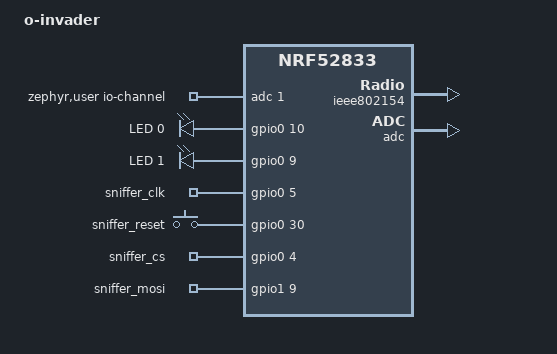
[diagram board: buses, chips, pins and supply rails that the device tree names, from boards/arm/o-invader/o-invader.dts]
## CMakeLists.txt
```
cmake_minimum_required(VERSION 3.20.0)

find_package(Zephyr REQUIRED HINTS $ENV{ZEPHYR_BASE})
project(bugpack_base LANGUAGES C)

# Fetch all component source files
file(GLOB_RECURSE COMPONENT_SOURCES src/components/*.c)

target_sources(app PRIVATE
        src/main.c
        ${COMPONENT_SOURCES} # Include all component source files
)

# Include all component header files
target_include_directories(app PRIVATE src/components)

# Set the path to the pm_static.yml file
set(PM_STATIC_YML_FILE pm_static.yml)

# Include the pm_static.yml file for MCUboot
set_property(GLOBAL PROPERTY PROPERTY_PM_STATIC_YML_FILE ${PM_STATIC_YML_FILE})
```

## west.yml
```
manifest:
  remotes:
    - name: nrfconnect
      url-base: https://github.com/nrfconnect
  projects:
    - name: nrf
      repo-path: sdk-nrf
      remote: nrfconnect
      revision: v2.5.2
      import: true
  self:
    path: app
```

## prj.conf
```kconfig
# Bluetooth configuration
CONFIG_BT=y
CONFIG_BT_DEVICE_NAME="O-Invader"
CONFIG_BT_PERIPHERAL=y
CONFIG_BT_USER_DATA_LEN_UPDATE=y
CONFIG_BT_CTLR_DATA_LENGTH_MAX=251
CONFIG_BT_BUF_ACL_RX_SIZE=502
CONFIG_BT_BUF_ACL_TX_SIZE=251
CONFIG_BT_L2CAP_TX_MTU=252
CONFIG_BT_CTLR_ULL_HIGH_PRIO=2
CONFIG_BT_MAX_CONN=3


# BLE Device information service
CONFIG_BT_DIS=y
CONFIG_BT_DIS_MODEL="O-Invader"
CONFIG_BT_DIS_MANUF="OriLive"
CONFIG_BT_DIS_HW_REV=y
CONFIG_BT_DIS_HW_REV_STR="0.2"
CONFIG_BT_DIS_FW_REV=y
CONFIG_BT_DIS_FW_REV_STR="Q1 2024"

# BLE Battery Service
CONFIG_BT_BAS=y

# ADC
CONFIG_ADC=y
CONFIG_ADC_ASYNC=y
CONFIG_ADC_NRFX_SAADC=y

# GPIO
CONFIG_GPIO=y

# Multithreading configuration
# -- Timeslicing prevents a single thread from starving other threads of CPU time.
#CONFIG_TIMESLICING=y
# -- In ms, the maximum amount of time a thread can run before forced to yield.
#CONFIG_TIMESLICE_SIZE=10
# -- The priority treshold for time slicing (priorities below this value will not be timesliced).
#CONFIG_TIMESLICE_PRIORITY=0

# Stack size configuration
CONFIG_MAIN_STACK_SIZE=4096
CONFIG_SYSTEM_WORKQUEUE_STACK_SIZE=4096

# Logging configuration
CONFIG_LOG=y

#Watchdog configuration
CONFIG_WATCHDOG=y

# Power Management
CONFIG_PM=y
CONFIG_PM_DEVICE=y

# Writing to flash
CONFIG_FLASH=y
CONFIG_FLASH_PAGE_LAYOUT=y
CONFIG_MPU_ALLOW_FLASH_WRITE=y
CONFIG_SOC_FLASH_NRF_EMULATE_ONE_BYTE_WRITE_ACCESS=y

# OTA DFU Updates
#CONFIG_MCUMGR=y
#CONFIG_MCUMGR_GRP_IMG=y
#CONFIG_BOOTLOADER_MCUBOOT=y
#CONFIG_MCUMGR_TRANSPORT_BT=y
#CONFIG_MCUMGR_TRANSPORT_BT_AUTHEN=n
#CONFIG_NCS_SAMPLE_MCUMGR_BT_OTA_DFU=y
#CONFIG_DISABLE_FLASH_PATCH=y


# Debugging configuration
# CONFIG_DEBUG=y
# CONFIG_LOG=y
# CONFIG_SERIAL=y
# CONFIG_THREAD_NAME=y
# CONFIG_THREAD_ANALYZER=y
# CONFIG_THREAD_ANALYZER_AUTO=y
# CONFIG_THREAD_ANALYZER_RUN_UNLOCKED=y
# CONFIG_THREAD_ANALYZER_USE_PRINTK=y
# CONFIG_ASSERT=y
# CONFIG_ASSERT_VERBOSE=y
# CONFIG_ASSERT_NO_COND_INFO=n
# CONFIG_ASSERT_NO_MSG_INFO=n
# CONFIG_RESET_ON_FATAL_ERROR=n
```

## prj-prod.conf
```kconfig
#
# This is the configuration file extension for the production build.
# It disables all debugging features and enables all power saving features.
#

# -- It is important to disable CONFIG_SERIAL and CONFIG_LOG, it takes a lot of power otherwise.
CONFIG_SERIAL=n
CONFIG_LOG=n
```

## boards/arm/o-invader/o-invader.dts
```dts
/dts-v1/;
#include <nordic/nrf52833_qdaa.dtsi>

/ {
	model = "o-invader";
	compatible = "matejneumann,o-invader";

    zephyr,user {
        io-channels = <&adc 1>;
    };

	chosen {
		zephyr,sram = &sram0;
		zephyr,flash = &flash0;
		zephyr,code-partition = &slot0_partition;
        zephyr,storage_partition = &storage_partition;
    };

    leds {
        compatible = "gpio-leds";
        led0: led_0 {
            gpios = <&gpio0 10 GPIO_ACTIVE_HIGH>;
            label = "LED 0";
        };
        led1: led_1 {
            gpios = <&gpio0 9 GPIO_ACTIVE_HIGH>;
            label = "LED 1";
        };
    };

    sniffer {
        compatible = "gpio-keys";
        clck0: clck_0 {
            gpios = <&gpio0 5 GPIO_ACTIVE_HIGH>;
            label = "sniffer_clk";
        };

        reset0: reset_0 {
            gpios = <&gpio0 30 GPIO_ACTIVE_HIGH>;
            label = "sniffer_reset";
        };

        cs0: cs_0 {
            gpios = <&gpio0 4 GPIO_ACTIVE_HIGH>;
            label = "sniffer_cs";
        };

        mosi0: mosi_0 {
            gpios = <&gpio1 9 GPIO_ACTIVE_HIGH>;
            label = "sniffer_mosi";
        };
    };

    aliases {
        led0 = &led0;
        led1 = &led1;
        watchdog0 = &wdt0;
    };
};

&gpiote {
    status = "okay";
};

&gpio0 {
    status = "okay";
};

&gpio1 {
    status = "okay";
};

&uicr {
    gpio-as-nreset;
};

&ieee802154 {
    status = "okay";
};

&adc {
    status = "okay";
};

&flash0 {
    partitions {
        compatible = "fixed-partitions";
        #address-cells = <1>;
        #size-cells = <1>;

        boot_partition: partition@0 {
            label = "mcuboot";
            reg = <0x00000000 0xC000>;
        };
        slot0_partition: partition@c000 {
            label = "image-0";
            reg = <0x0000C000 0x37000>;
        };
        slot1_partition: partition@43000 {
            label = "image-1";
            reg = <0x00043000 0x37000>;
        };
        storage_partition: partition@7a000 {
            label = "storage";
            reg = <0x0007A000 0x00006000>;
        };
    };
};
```

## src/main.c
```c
#include <zephyr/sys/printk.h>
#include <zephyr/logging/log.h>
#include <zephyr/drivers/gpio.h>


#include "components/bluetooth/bluetooth_core.h"
#include "components/logging/logging.h"
#include "components/device_state/battery_state.h"
#include "components/data_provider/spi_scraper.h"
#include "components/utils/led_indication.h"
#include "data_provider/punch_processing.h"
#include "utils/watchdog.h"
#include "utils/device_config.h"
#include "utils/device_sleep.h"

LOG_MODULE_REGISTER(o_invader_main, LOG_LEVEL_DBG);

int main(void)
{
//    NRF_TIMER1->BITMODE = TIMER_BITMODE_BITMODE_32Bit << TIMER_BITMODE_BITMODE_Pos;
//    NRF_TIMER1->TASKS_CLEAR = 1;
//    NRF_CLOCK->EVENTS_HFCLKSTARTED = 0;
//    NRF_TIMER1->TASKS_START = 1;
//    NRF_CLOCK->TASKS_HFCLKSTART = 1;
//    int counter = 1000000;
//    while(NRF_CLOCK->EVENTS_HFCLKSTARTED == 0 && counter-- > 0);
////    while(NRF_CLOCK->EVENTS_HFCLKSTARTED == 0);
//    NRF_TIMER1->TASKS_CAPTURE[0] = 1;
//
//    printk("HF Clock has started. Startup time: %d uS\n", NRF_TIMER1->CC[0]);
//    printk("All up and running!\n");

    LOG_INF("Starting up...\n");
    flash_storage_init();
    watchdog_init();
    led_indication_init();
    spi_scraper_init();
    logging_initialize();
    bt_core_initialize();
    battery_state_initialize();
    update_battery_level();
    initialize_punch_processing();
    device_sleep_init();

    LOG_INF("All up and running!\n");

    while(1) {
        k_sleep(K_MSEC(5000));
        watchdog_feed(); // TODO make the watchdog properly checkout all threads
    }
}
```

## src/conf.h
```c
#ifndef BASE_CONF_H
#define BASE_CONF_H

#define MAJOR_VERSION 0
#define MINOR_VERSION 1

#endif //BASE_CONF_H
```
